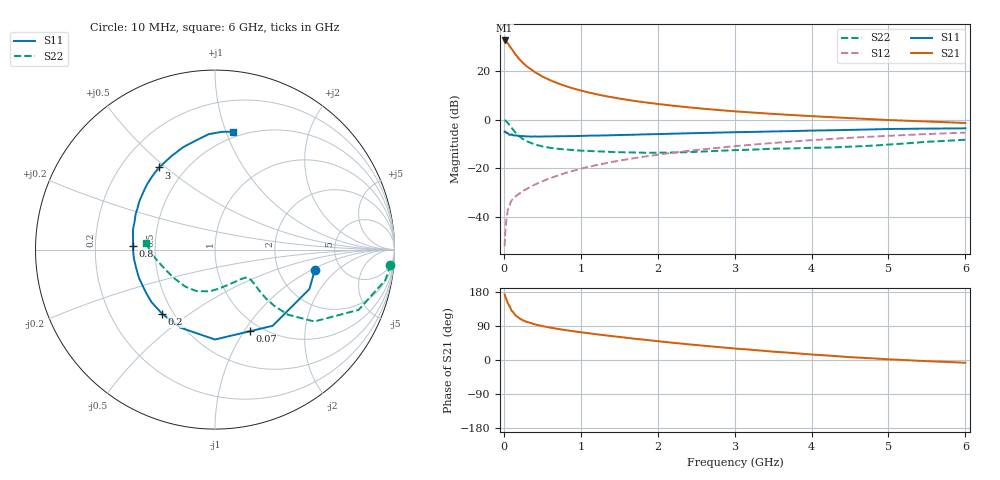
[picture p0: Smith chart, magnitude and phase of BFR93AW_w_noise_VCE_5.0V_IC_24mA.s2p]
! Infineon Technologies  Discrete & RF Semiconductors
! BFR93AW
! VCE =  5.0 V,  IC =  24 mA
! Common Emitter S-Parameters:  Jan 2017
# GHz  S  MA  R  50
!  f  S11  S21  S12  S22
! GHz  MAG  ANG  MAG  ANG  MAG  ANG  MAG  ANG
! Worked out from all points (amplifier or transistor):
!   77 points, 10 MHz to 6 GHz, reference 50 ohm
!   highest |S21| = 32.6 dB at 10 MHz (marker M1)
!   |S21| within 3 dB of that: start of sweep to 90.16 MHz
!   unconditionally stable (mu >= 1): 640.1 MHz to 2.025 GHz
!   at 130 MHz: K = 0.48, MSG = 30.1 dB, |S12| = -32.3 dB
!   at 2.2 GHz: K = 0.99, MSG = 9.7 dB, |S12| = -13.6 dB
!   at 6 GHz: K = 0.88, MSG = 2.0 dB, |S12| = -5.3 dB
!   lowest NFmin = 1.63 dB at 450 MHz
!   S11 on the Smith chart (normalised r, x): 10 MHz: 3.23, -1.07; 70 MHz: 0.88, -1.06; 200 MHz: 0.44, -0.40; 800 MHz: 0.37, +0.02; 3 GHz: 0.36, +0.47; 6 GHz: 0.45, +1.06
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0.01  0.5672 -11.4  42.73 173.2  0.0025 83.2  0.9807 -4.9
0.02  0.5703 -22.6  42.47 167.1  0.0053 83.6  0.9647 -10.1
0.05  0.5324 -52.9  37.64 150.1  0.0133 69.8  0.8676 -22.8
0.07  0.4943 -67.1  33.67 143.4  0.0167 65.7  0.789 -27.3
0.1  0.501 -90.0  28.86 130.3  0.0218 62.0  0.6827 -35.9
0.15  0.4757 -114.0  22.2 118.2  0.0261 57.7  0.5456 -41.7
0.2  0.4634 -129.4  17.73 110.3  0.03 58.4  0.4573 -43.5
0.25  0.4591 -140.4  14.69 104.5  0.0343 58.5  0.3999 -43.8
0.3  0.4531 -148.1  12.44 100.4  0.0378 60.2  0.3585 -43.3
0.4  0.452 -159.3  9.583 94.1  0.046 62.9  0.3104 -41.9
0.5  0.4511 -167.3  7.745 89.5  0.0538 64.9  0.2821 -40.9
0.6  0.4543 -173.2  6.518 85.6  0.0627 66.3  0.2644 -40.2
0.7  0.4559 -178.2  5.614 82.2  0.0708 67.9  0.2523 -40.1
0.8  0.4583 177.5  4.941 78.9  0.0801 68.6  0.2444 -40.5
1.1  0.4696 166.8  3.645 70.7  0.1072 68.9  0.2279 -44.2
1.5  0.4845 155.7  2.726 60.9  0.1435 67.8  0.2145 -52.5
2.1  0.5104 141.9  2.024 47.6  0.2 64.0  0.21 -71.2
3  0.5533 124.2  1.489 30.3  0.2851 56.5  0.2365 -100.4
3.1  0.5563 122.4  1.452 28.8  0.2944 55.4  0.2387 -103.3
4.1  0.6009 105.7  1.162 13.2  0.3884 45.3  0.2657 -132.5
5.1  0.646 91.8  0.971 0.9  0.4744 34.3  0.3154 -165.4
6  0.6648 81.2  0.857 -7.3  0.5419 24.1  0.3871 174.3
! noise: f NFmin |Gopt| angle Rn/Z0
0.45  1.63  0.16  169  0.16
0.9  1.9  0.24  180  0.16
1.9  2.91  0.49  -137  0.25
2.4  3.56  0.55  -125  0.49
